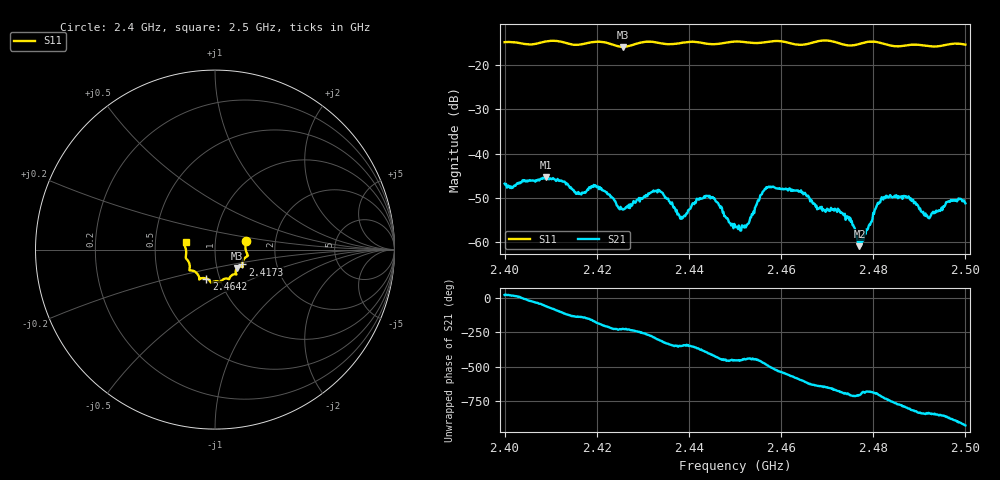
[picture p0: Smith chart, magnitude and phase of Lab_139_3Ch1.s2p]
# Hz S RI R 50
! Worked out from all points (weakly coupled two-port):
!   601 points, 2.4 GHz to 2.5 GHz, reference 50 ohm
!   highest |S21| = -45.36 dB at 2.409 GHz (marker M1); lowest = -60.8 dB at 2.477 GHz (marker M2)
!   lowest |S11| = -15.9 dB at 2.4257 GHz (marker M3), VSWR 1.38, Z = 62.4 - j13.1 ohm
!   |S11| at or under -10 dB: start of sweep to end of sweep
!   S12 and S22 are empty: the file has one direction only
!   S11 on the Smith chart (normalised r, x): 2.4 GHz: 1.41, +0.14; 2.4173 GHz: 1.34, -0.23; 2.4642 GHz: 0.86, -0.29; 2.5 GHz: 0.72, +0.06
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2.4e9  0.1732 0.0496  0.0043 0.0016  0 0  0 0
2.409e9  0.1816 -0.0283  0.00258 -0.00473  0 0  0 0
2.416667e9  0.1529 -0.0748  -0.00261 -0.00229  0 0  0 0
2.417333e9  0.1522 -0.0824  -0.00289 -0.00226  0 0  0 0
2.419833e9  0.1541 -0.0969  -0.0043 -0.000132  0 0  0 0
2.425667e9  0.1226 -0.1021  -0.00164 0.00168  0 0  0 0
2.433333e9  0.1127 -0.1367  0.00217 0.00326  0 0  0 0
2.4385e9  0.0817 -0.1572  0.00182 0.000383  0 0  0 0
2.445e9  0.0555 -0.1619  0.002 -0.00254  0 0  0 0
2.45e9  0.0297 -0.1809  -5.91e-05 -0.00153  0 0  0 0
2.4525e9  0.0205 -0.1785  0.000144 -0.00154  0 0  0 0
2.457e9  -0.0135 -0.1809  -0.00261 -0.00319  0 0  0 0
2.464167e9  -0.0482 -0.1612  -0.00216 0.00308  0 0  0 0
2.466667e9  -0.0764 -0.1598  -6e-05 0.00295  0 0  0 0
2.474833e9  -0.1051 -0.128  0.00168 0.000582  0 0  0 0
2.477e9  -0.1268 -0.1167  0.00088 0.000225  0 0  0 0
2.481333e9  -0.1421 -0.1076  0.00276 0.000663  0 0  0 0
2.483333e9  -0.141 -0.0895  0.00298 -0.00121  0 0  0 0
2.487667e9  -0.159 -0.0525  0.000433 -0.00328  0 0  0 0
2.492e9  -0.1607 -0.0254  -0.000749 -0.00173  0 0  0 0
2.496333e9  -0.1688 0.0222  -0.00252 -0.00143  0 0  0 0
2.5e9  -0.1636 0.042  -0.00251 0.00115  0 0  0 0
